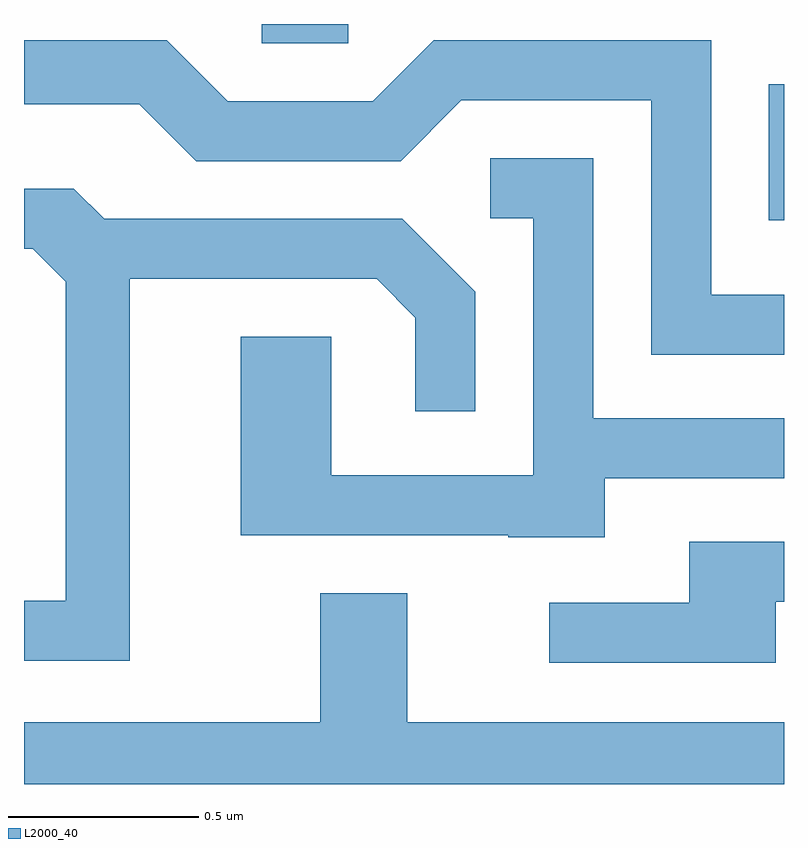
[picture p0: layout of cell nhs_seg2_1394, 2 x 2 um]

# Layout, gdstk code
import gdstk
lib = gdstk.Library(unit=1e-6, precision=1e-09)
def R(c, l, rs):  # rectangles x0, y0, x1, y1
    for r in rs: c.add(gdstk.rectangle(r[:2], r[2:], *l))
def P(c, l, *ps):  # polygons
    for p in ps: c.add(gdstk.Polygon(p, *l))
L2000_40 = (2000, 40)

nhs_seg2_1394 = lib.new_cell('nhs_seg2_1394')
R(nhs_seg2_1394, L2000_40, [(197.571,1003.286,197.611,1003.643), (196.236,1003.751,196.464,1003.802)])
P(nhs_seg2_1394, L2000_40, [(197.611,1003.089),(197.419,1003.089),(197.419,1003.759),(196.689,1003.759),(196.529,1003.599),(196.147,1003.599),(195.987,1003.759),(195.611,1003.759),(195.611,1003.591),(195.914,1003.591),(196.064,1003.441),(196.602,1003.441),(196.762,1003.601),(197.261,1003.601),(197.261,1002.931),(197.611,1002.931)],
  [(197.139,1002.606),(197.611,1002.606),(197.611,1002.764),(197.109,1002.764),(197.109,1003.449),(196.838,1003.449),(196.838,1003.291),(196.951,1003.291),(196.951,1002.614),(196.419,1002.614),(196.419,1002.979),(196.181,1002.979),(196.181,1002.456),(196.885,1002.456),(196.885,1002.451),(197.139,1002.451)],
  [(195.889,1003.131),(196.539,1003.131),(196.641,1003.029),(196.641,1002.783),(196.799,1002.783),(196.799,1003.097),(196.607,1003.289),(195.822,1003.289),(195.742,1003.369),(195.611,1003.369),(195.611,1003.211),(195.634,1003.211),(195.721,1003.124),(195.721,1002.284),(195.611,1002.284),(195.611,1002.126),(195.889,1002.126)],
  [(197.589,1002.281),(197.611,1002.281),(197.611,1002.439),(197.361,1002.439),(197.361,1002.279),(196.993,1002.279),(196.993,1002.121),(197.589,1002.121)],
  [(197.611,1001.964),(196.619,1001.964),(196.619,1002.304),(196.391,1002.304),(196.391,1001.964),(195.611,1001.964),(195.611,1001.802),(197.611,1001.802)])

lib.write_gds('nhs_seg2_1394.gds')
